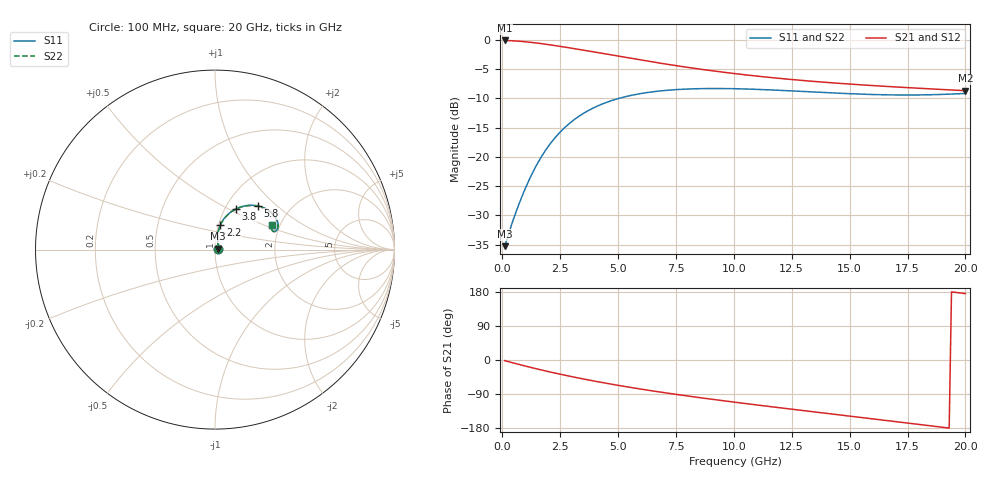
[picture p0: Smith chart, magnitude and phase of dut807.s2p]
! Touchstone file exported from HFSS 2024.1.0
!  File:  C:/UserFiles/LocalFiles/RDL_TSV_Batchsim/temp_RDL_TSV_807_1779912204.aedt
!  Generated:  04:16:09 AM May 28, 2026
!  Design:  RDL_TSV
!  Project:  temp_RDL_TSV_807_1779912204
!  Setup:  Setup1
!  Solution:  Sweep
! Variables:
!  dtsv = 10.76um
!  hbump = 3um
!  htsv = 53.53um
!  ldown = 243.13um
!  lrdl = 516.59um
!  p = 40
!  p1 = 54.78um
!  rhole = 10um
!  subl = 2795.75um
!  t = 450um
!  tdown = 4.04um
!  trdl = 3.4um
!  viad = 10um
!  wdown = 13.75um
!  wrdl = 18.76um
!  xbump = 18um
# GHz S MA R 50.000000
! Terminal data exported
! Port[1] = TM1_1_T1
! Port[2] = TM1_4_T1
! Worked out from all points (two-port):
!   200 points, 100 MHz to 20 GHz, reference 50 ohm
!   highest |S21| = -0.15 dB at 100 MHz (marker M1); lowest = -8.7 dB at 20 GHz (marker M2)
!   |S21| within 3 dB of the highest: start of sweep to 5.484 GHz
!   lowest |S11| = -35.2 dB at 100 MHz (marker M3), VSWR 1.04, Z = 51.7 + j0.547 ohm
!   |S11| at or under -10 dB: start of sweep to 5.06 GHz
!   |S22| runs from -35.2 to -8.4 dB; largest |S21 - S12| = 1.7e-14
!   S11 on the Smith chart (normalised r, x): 100 MHz: 1.03, +0.01; 2.2 GHz: 1.02, +0.28; 3.8 GHz: 1.12, +0.54; 5.8 GHz: 1.39, +0.76; 20 GHz: 1.82, +0.57
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0.1  0.01731 17.8  0.9832 -1.7  0.9832 -1.7  0.01731 17.8
! Gamma 0 0 0 0
! Port Impedance 50 0 50 0
0.6  0.0342 61.1  0.9728 -9.8  0.9728 -9.8  0.03421 61.0
0.9  0.04857 71.8  0.9623 -14.5  0.9623 -14.5  0.04856 71.7
1.1  0.06 76.0  0.9538 -17.6  0.9538 -17.6  0.05996 75.9
1.3  0.07274 78.5  0.9444 -20.7  0.9444 -20.7  0.07266 78.3
1.6  0.09377 79.9  0.9287 -25.1  0.9287 -25.1  0.09361 79.7
1.9  0.1163 79.5  0.9117 -29.3  0.9117 -29.3  0.1161 79.3
2.2  0.1395 77.9  0.8939 -33.5  0.8939 -33.5  0.1392 77.7
2.8  0.1855 72.9  0.8568 -41.4  0.8568 -41.4  0.185 72.7
3.5  0.2346 66.1  0.8129 -50.1  0.8129 -50.1  0.2338 65.9
3.8  0.2534 63.1  0.7943 -53.6  0.7943 -53.6  0.2525 62.9
4.7  0.3009 54.5  0.7401 -63.7  0.7401 -63.7  0.2997 54.4
5.8  0.3416 45.4  0.6793 -75.0  0.6793 -75.0  0.3401 45.2
6.8  0.3646 38.4  0.6303 -84.5  0.6303 -84.5  0.3629 38.2
8.4  0.3811 29.6  0.5649 -98.3  0.5649 -98.3  0.379 29.4
10.1  0.3809 23.1  0.5111 -111.9  0.5111 -111.9  0.3786 22.9
11.7  0.3715 19.1  0.4724 -123.9  0.4724 -123.9  0.3691 19.0
13.4  0.3577 17.1  0.4408 -136.4  0.4408 -136.4  0.3552 17.0
15  0.3456 17.0  0.4175 -148.1  0.4175 -148.1  0.343 16.9
16.7  0.3377 18.6  0.3975 -160.5  0.3975 -160.5  0.3351 18.5
18.3  0.3379 20.9  0.3816 -172.2  0.3816 -172.2  0.3354 20.8
20  0.3475 23.4  0.3667 175.2  0.3667 175.2  0.3451 23.4
